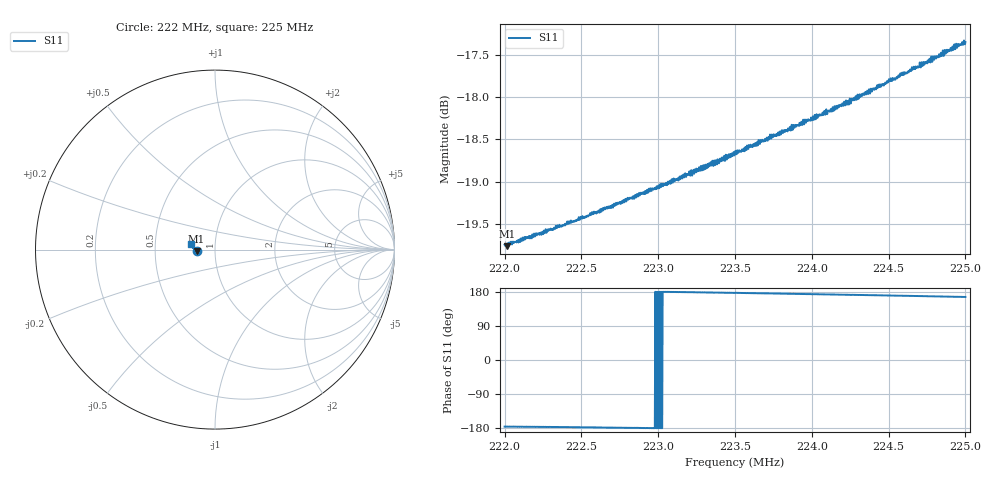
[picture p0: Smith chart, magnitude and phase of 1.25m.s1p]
! Calibrated averaged scanner-service zoom
# Hz S RI R 50
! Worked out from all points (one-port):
!   1001 points, 222 MHz to 225 MHz, reference 50 ohm
!   lowest |S11| = -19.8 dB at 222.01 MHz (marker M1), VSWR 1.23, Z = 40.7 - j0.62 ohm
!   |S11| at or under -10 dB: start of sweep to end of sweep
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2.22e8  -0.1027 -0.00747
2.22015e8  -0.1024 -0.00753
2.22375e8  -0.1055 -0.00532
2.2275e8  -0.1091 -0.00278
2.22873e8  -0.1103 -0.00177
2.22918e8  -0.1104 -0.000502
2.23125e8  -0.1125 0.00108
2.235e8  -0.1165 0.00559
2.23548e8  -0.1168 0.0069
2.23593e8  -0.1176 0.00689
2.23623e8  -0.1175 0.00794
2.23668e8  -0.1183 0.00799
2.23698e8  -0.1183 0.00903
2.23743e8  -0.1192 0.00911
2.23773e8  -0.119 0.0101
2.23875e8  -0.1198 0.0116
2.24115e8  -0.1226 0.0153
2.24148e8  -0.1234 0.0155
2.2425e8  -0.1243 0.0173
2.24625e8  -0.128 0.0242
2.24715e8  -0.1295 0.026
2.2476e8  -0.1292 0.0272
2.2479e8  -0.1303 0.0275
2.24835e8  -0.13 0.0288
2.24865e8  -0.1311 0.0291
2.2491e8  -0.1307 0.0304
2.2494e8  -0.1319 0.0308
2.25e8  -0.1319 0.032
